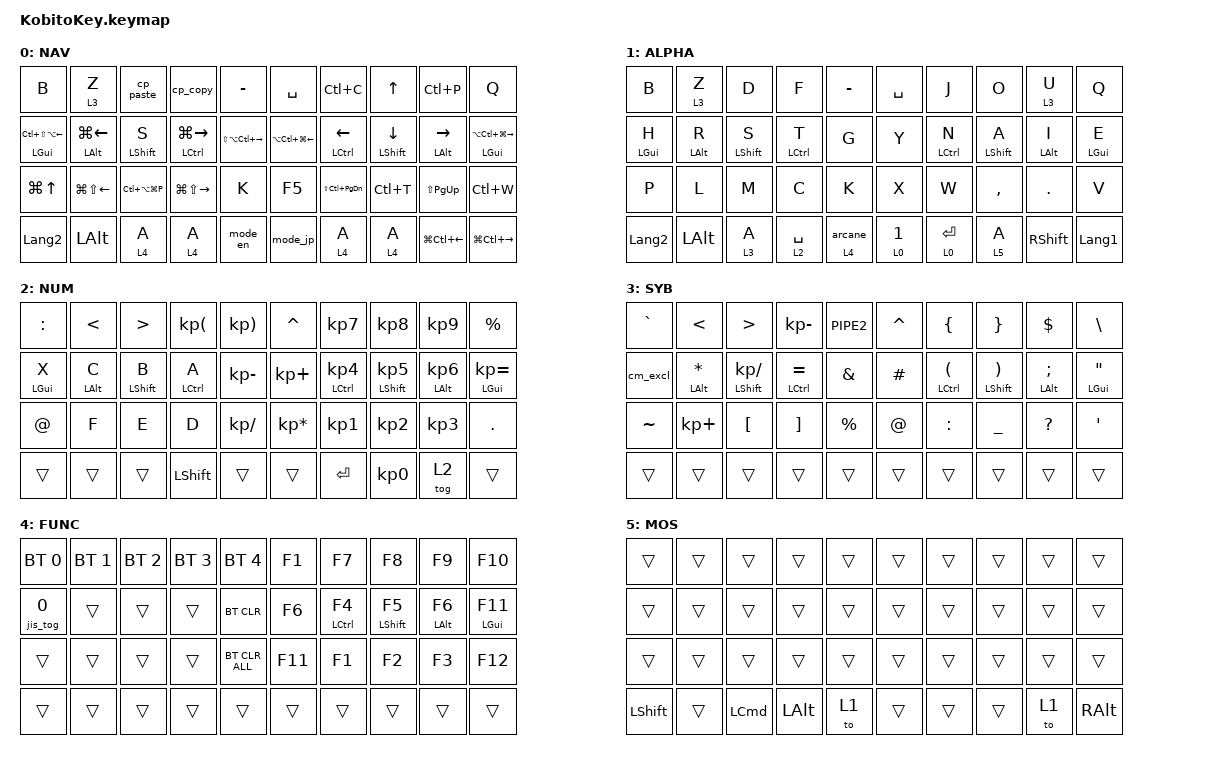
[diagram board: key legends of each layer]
#include <input/processors.dtsi>
#include <behaviors.dtsi>
#include <dt-bindings/zmk/bt.h>
#include <dt-bindings/zmk/keys.h>
#include <dt-bindings/zmk/pointing.h>

#include <zmk-helpers/helper.h> // Requires zmk-helpers module.
#include "boards/shields/KobitoKey/includes/40.h"

#define HM_TAPPING_TERM 280           // urob 流: 280ms (prior-idle ゲートがあるため長くても無害)
#define HM_PRIOR_IDLE 150             // urob 流: 150ms — timeless の肝。直前打鍵から 150ms 以内は即タップ
#define HM_QUICK_TAP 175              // urob 流: 175ms — 連打/リピート時の即時再タップ
#define COMBO_TERM 30          // 同指縦コンボ用: 指間ズレが無いので短く (ロール誤爆抑止)
#define COMBO_TERM_HORIZ 60    // 別指横並び用: 中指先行/相方指の遅れを吸収する緩めtimeout
#define COMBO_TERM_WIDE 75     // index+小指 (J+; 等) 用: 小指の遅れを吸収 (FN 対策)
#define COMBO_IDLE 175         // combo 既定 require-prior-idle-ms: 打鍵流中は combo を無効化

// https://github.com/urob/zmk-config/tree/main#timeless-homerow-mods

#define ZMK_POINTING_DEFAULT_SCRL_VAL 15

/ {
    // Activate ADJUST layer by pressing raise and lower

    behaviors {
        hm_l: homerow_mods_left {
            compatible = "zmk,behavior-hold-tap";
            #binding-cells = <2>;
            bindings = <&kp>, <&kp>;

            flavor = "balanced";
            tapping-term-ms = <HM_TAPPING_TERM>;
            quick-tap-ms = <HM_QUICK_TAP>;
            require-prior-idle-ms = <HM_PRIOR_IDLE>;
            hold-trigger-key-positions = <KEYS_R KEYS_T>;
            hold-trigger-on-release;
        };

        hm_r: homerow_mods_right {
            compatible = "zmk,behavior-hold-tap";
            #binding-cells = <2>;
            bindings = <&kp>, <&kp>;

            flavor = "balanced";
            tapping-term-ms = <HM_TAPPING_TERM>;
            quick-tap-ms = <HM_QUICK_TAP>;
            require-prior-idle-ms = <HM_PRIOR_IDLE>;
            hold-trigger-key-positions = <KEYS_L KEYS_T>;
            hold-trigger-on-release;
        };

        // hm_shift_l / hm_shift_r (Townk 流 prior-idle=0) は 2026-06 に撤去。
        // 速打時の Shift 暴発源だったため、Shift も hm_l/hm_r の一律 timeless 値へ統一。

        /*
         * Non-Positional Homerow Mods
         * Used for &mm_grescm_gui behavior on left hand.
         *
         * Usage: &hm LSHFT T
         * Tap: T
         * Tap-Tap-Hold: Repeat T
         * Hold: LSHIFT
         */

        hm: homerow_mods {
            compatible = "zmk,behavior-hold-tap";
            #binding-cells = <2>;
            bindings = <&kp>, <&kp>;

            flavor = "balanced";
            tapping-term-ms = <HM_TAPPING_TERM>;
            quick-tap-ms = <200>;
        };

        bs_del: bs_del {
            compatible = "zmk,behavior-mod-morph";
            #binding-cells = <0>;
            bindings = <&kp BSPC>, <&kp DEL>;

            mods = <(MOD_LSFT|MOD_RSFT)>;
        };

        lt: layer_tap {
            compatible = "zmk,behavior-hold-tap";
            #binding-cells = <2>;
            bindings = <&mo>, <&kp>;

            flavor = "hold-preferred";
            tapping-term-ms = <HM_TAPPING_TERM>;
            quick-tap-ms = <200>;
        };

        // lt_nav: hold で指定レイヤーをデフォルト化 (&to)、tap でキー送信。
        // 文字レイヤーの親指で「長押し = NAV (layer 0) へ帰還」に使う。
        lt_nav: layer_tap_to {
            compatible = "zmk,behavior-hold-tap";
            #binding-cells = <2>;
            bindings = <&to>, <&kp>;

            flavor = "hold-preferred";
            tapping-term-ms = <HM_TAPPING_TERM>;
            quick-tap-ms = <200>;
        };

        // arcane: repeat/magic ハイブリッド (Keyball の LMAGIC/RMAGIC を移植)。
        // 直前キーが表にあればその文字、なければ直前キーをリピートする。
        // 実装はシールド内のカスタムビヘイビア behavior_arcane.c。
        // パラメータで表を選ぶ: 0 = 左 (LMAGIC)、1 = 右 (RMAGIC)。
        // hold-tap のタップ側に置くため #binding-cells は <1>。
        arcane: arcane {
            compatible = "zmk,behavior-arcane";
            #binding-cells = <1>;
            usage-pages = <0x07>;
        };

        // lt_arc_l: hold = レイヤー (&mo)、tap = arcane。使い方は &lt_arc_l 4 0。
        lt_arc_l: layer_tap_arcane_left {
            compatible = "zmk,behavior-hold-tap";
            #binding-cells = <2>;
            bindings = <&mo>, <&arcane>;

            flavor = "hold-preferred";
            tapping-term-ms = <HM_TAPPING_TERM>;
            quick-tap-ms = <200>;
        };

        // lt_arc_r: hold = &to (NAV 帰還)、tap = arcane。使い方は &lt_arc_r 0 1。
        lt_arc_r: layer_tap_arcane_right {
            compatible = "zmk,behavior-hold-tap";
            #binding-cells = <2>;
            bindings = <&to>, <&arcane>;

            flavor = "hold-preferred";
            tapping-term-ms = <HM_TAPPING_TERM>;
            quick-tap-ms = <200>;
        };

        // jis_tog: JIS/US 出力切替 (Keyball の OUT_TOG + A2J 変換を移植)。
        // パラメータ 0 = トグル、1 = JIS オン、2 = US オン。状態は settings に保存。
        // 切替キーは FUNC レイヤーのホームロー左端に配置。
        jis_tog: jis_toggle {
            compatible = "zmk,behavior-jis-toggle";
            #binding-cells = <1>;
        };

        // cp_paste / cp_copy: コピペマクロ (Toad の Cornix キーマップから移植、Mac→Windows に読み替え)。
        // mod-morph (Shift の有無) の中に hold-tap (tap/hold) を入れ子にして 3〜4 通りを出し分ける。
        // ht_cp: hold/tap とも &kp のコードをそのまま送る汎用 hold-tap。
        ht_cp: ht_cp {
            compatible = "zmk,behavior-hold-tap";
            #binding-cells = <2>;
            bindings = <&kp>, <&kp>;
            flavor = "balanced";
            tapping-term-ms = <280>;
            quick-tap-ms = <175>;
            require-prior-idle-ms = <150>;
        };

        // ht_cp_url: cp_copy の Shift 側。tap は URL コピー マクロ、hold は &kp。
        ht_cp_url: ht_cp_url {
            compatible = "zmk,behavior-hold-tap";
            #binding-cells = <2>;
            bindings = <&kp>, <&url_copy>;
            flavor = "balanced";
            tapping-term-ms = <280>;
            quick-tap-ms = <175>;
            require-prior-idle-ms = <150>;
        };

        // url_copy: Ctrl+L でアドレスバーへ移動してから Ctrl+C (パラメータはダミー)。
        url_copy: url_copy {
            compatible = "zmk,behavior-macro-one-param";
            #binding-cells = <1>;
            wait-ms = <30>;
            tap-ms = <30>;
            bindings = <&kp LC(L)>, <&kp LC(C)>;
        };

        // cp_paste (NAV の D 位置): tap = Ctrl+V、hold = Win+V (クリップボード履歴)、
        // Shift+tap = Ctrl+Shift+V (書式なし貼り付け想定)。
        cp_paste: cp_paste {
            compatible = "zmk,behavior-mod-morph";
            #binding-cells = <0>;
            bindings = <&ht_cp LG(V) LC(V)>, <&kp LC(LS(V))>;
            mods = <(MOD_LSFT|MOD_RSFT)>;
        };

        // cp_copy (NAV の F 位置): tap = Ctrl+C、hold = Win+Shift+S (範囲スクショ→コピー)、
        // Shift+tap = URL コピー、Shift+hold = Win+Shift+T (PowerToys テキスト抽出 = OCR 想定)。
        cp_copy: cp_copy {
            compatible = "zmk,behavior-mod-morph";
            #binding-cells = <0>;
            bindings = <&ht_cp LG(LS(S)) LC(C)>, <&ht_cp_url LG(LS(T)) 0>;
            mods = <(MOD_LSFT|MOD_RSFT)>;
        };

        // task_view: 押している間タスクビュー (Win+Tab) を開き、離すと左クリック
        // (ろほん氏の roBa キーマップより)。押下中は Win+Tab を保持し、トラックボールで
        // ウィンドウにカーソルを合わせ、離した瞬間のクリックで切り替える。
        // ※キーへは未登録。使うときは任意のマスに &task_view を置く。
        task_view: task_view {
            compatible = "zmk,behavior-macro";
            #binding-cells = <0>;
            bindings = <&macro_press &kp LG(TAB)>, <&macro_pause_for_release>, <&macro_release &kp LG(TAB)>, <&macro_tap &mkp LCLK>;
            label = "TASK_VIEW";
        };

        // lt_g: tap-preferred layer-tap (used for G → Navi)
        // 値は main ブランチ準拠 (filterpaper 流の HM 定数を継承せず固定)
        // ユーザの打鍵感覚で main の挙動が最も自然と確認済み (2026-05-29)

        lt_g: layer_tap_g {
            compatible = "zmk,behavior-hold-tap";
            #binding-cells = <2>;
            bindings = <&mo>, <&kp>;

            flavor = "tap-preferred";
            tapping-term-ms = <250>;
            quick-tap-ms = <200>;
            require-prior-idle-ms = <70>;
        };

        // urob zmk-leader-key モジュール (2026-06 導入)
        // 開始キー (combo E+I) → 後続の並びで IDE ジェスチャ等を発火する namespace。
        // このモジュール版は timeout/layers/immediate-trigger を持たない:
        //   有効な並びが揃うまで待機し、無効キーで中断する (せかされない代わりに宙ぶらりんに注意)。
        // 並びはキーコード列 (README の <U S B>=“usb” と同形式)。bindings には任意 behavior/マクロ可。
        leader: leader {
            compatible = "zmk,behavior-leader-key";
            #binding-cells = <0>;

            ldr_cc { sequence = <C C>; bindings = <&ctrl_ctrl>; };    // leader→c c : Ctrl 二連打
            ldr_ss { sequence = <S S>; bindings = <&shift_shift>; };  // leader→s s : Shift 二連打
            // 追加例: ldr_run { sequence = <R>; bindings = <&kp F10 等>; };
            //   Run/Debug は IDE のショートカット (例 IntelliJ: Shift+F10/F9) を教われば足せる。
        };

        // === combo 用 mod-morph (shift / alt 連動) ===
        cm_quote: cm_quote {
            compatible = "zmk,behavior-mod-morph";
            #binding-cells = <0>;
            bindings = <&kp SQT>, <&kp DQT>;
            mods = <(MOD_LSFT|MOD_RSFT)>;
        };
        cm_lpar: cm_lpar {
            compatible = "zmk,behavior-mod-morph";
            #binding-cells = <0>;
            bindings = <&kp LPAR>, <&kp LT>;
            mods = <(MOD_LSFT|MOD_RSFT)>;
        };
        cm_rpar: cm_rpar {
            compatible = "zmk,behavior-mod-morph";
            #binding-cells = <0>;
            bindings = <&kp RPAR>, <&kp GT>;
            mods = <(MOD_LSFT|MOD_RSFT)>;
        };
        cm_lbkt: cm_lbkt {
            compatible = "zmk,behavior-mod-morph";
            #binding-cells = <0>;
            bindings = <&kp LBKT>, <&kp LBRC>;
            mods = <(MOD_LSFT|MOD_RSFT)>;
        };
        cm_rbkt: cm_rbkt {
            compatible = "zmk,behavior-mod-morph";
            #binding-cells = <0>;
            bindings = <&kp RBKT>, <&kp RBRC>;
            mods = <(MOD_LSFT|MOD_RSFT)>;
        };
        cm_excl: cm_excl {
            compatible = "zmk,behavior-mod-morph";
            #binding-cells = <0>;
            bindings = <&kp EXCLAMATION>, <&kp QUESTION>;
            mods = <(MOD_LSFT|MOD_RSFT)>;
        };
        cm_mins: cm_mins {
            compatible = "zmk,behavior-mod-morph";
            #binding-cells = <0>;
            bindings = <&kp KP_MINUS>, <&kp EQUAL>;
            mods = <(MOD_LSFT|MOD_RSFT)>;
        };
        cm_at: cm_at {
            compatible = "zmk,behavior-mod-morph";
            #binding-cells = <0>;
            bindings = <&kp AT>, <&kp HASH>;
            mods = <(MOD_LSFT|MOD_RSFT)>;
        };
        cm_amp: cm_amp {
            compatible = "zmk,behavior-mod-morph";
            #binding-cells = <0>;
            bindings = <&kp AMPERSAND>, <&kp DOLLAR>;
            mods = <(MOD_LSFT|MOD_RSFT)>;
        };
        // df combo: 通常は leader、Alt 保持中は Tab (keep-mods で Alt を残し Alt+Tab に)
        df_lead: df_lead {
            compatible = "zmk,behavior-mod-morph";
            #binding-cells = <0>;
            bindings = <&leader>, <&kp TAB>;
            mods = <(MOD_LALT|MOD_RALT)>;
            keep-mods = <(MOD_LALT|MOD_RALT)>;
        };
    };

    conditional_layers {
        compatible = "zmk,conditional-layers";

        adjust_layer {
            if-layers = <3 2>;
            then-layer = <4>;
        };
    };

    combos {
        compatible = "zmk,combos";

        // 全 combo 共通: timeout-ms=COMBO_TERM(30) でロール誤爆抑止 / require-prior-idle-ms=COMBO_IDLE(175)。
        // 不発が出たら個別に timeout-ms を上げる。とくに「同指縦コンボ」(ws/ed/rf/tg/yh/uj/ik/ol,
        // sx/dc/fv/gb/hn/jm/k,/l.) は構造上ロール誤爆に強いが timeout=30 で不発になりやすい筆頭。

        // --- 編集 / ナビ ---
        cb_kp_esc    { key-positions = <LM3 LM2>;   bindings = <&kp ESC>;   layers = <1>; timeout-ms = <COMBO_TERM>;      require-prior-idle-ms = <COMBO_IDLE>; };  // W+E
        cb_kp_tab    { key-positions = <LM4 LM3>; bindings = <&kp TAB>;   layers = <1>; timeout-ms = <COMBO_TERM>;      require-prior-idle-ms = <COMBO_IDLE>; };  // S+D
        cb_kp_del    { key-positions = <RT3 RT2>;   bindings = <&kp DEL>;   layers = <1>; timeout-ms = <COMBO_TERM_HORIZ>; require-prior-idle-ms = <COMBO_IDLE>; };  // U+I  (横並び: 緩め)
        cb_kp_bs     { key-positions = <RT1 RT2>;  bindings = <&bs_del>;   layers = <1>; timeout-ms = <COMBO_TERM_HORIZ>; require-prior-idle-ms = <COMBO_IDLE>; };  // I+O  (Shift=DEL, 横並び: 緩め)
        //cb_kp_insert { key-positions = <10 20>; bindings = <&kp INS>;   layers = <1>; timeout-ms = <COMBO_TERM_HORIZ>; require-prior-idle-ms = <COMBO_IDLE>; };  // O+J  (横並び: 緩め)
        //cb_kp_enter  { key-positions = <20 23>; bindings = <&kp ENTER>; layers = <1>; timeout-ms = <COMBO_TERM_WIDE>; require-prior-idle-ms = <COMBO_IDLE>; };  // J+; (widechord)
        cb_leader    { key-positions =  <LM4 LM3 LM2>; bindings = <&df_lead>;  layers = <1>; timeout-ms = <COMBO_TERM>;      require-prior-idle-ms = <COMBO_IDLE>; };  // D+F = leader / Alt+Tab
        cb_kp_rght    { key-positions = <RM3 RM2>;   bindings = <&kp RIGHT>;   layers = <1>; timeout-ms = <COMBO_TERM>; require-prior-idle-ms = <COMBO_IDLE>; };  // U+I  (横並び: 緩め)
        cb_kp_left    { key-positions = <RM1 RM2>;  bindings = <&kp LEFT>;   layers = <1>; timeout-ms = <COMBO_TERM>; require-prior-idle-ms = <COMBO_IDLE>; };  // I+O  (Shift=DEL, 横並び: 緩め)
        cb_kp_down    { key-positions = <RM3 RT2>;   bindings = <&kp DOWN>;   layers = <1>; timeout-ms = <COMBO_TERM>; require-prior-idle-ms = <COMBO_IDLE>; };  // U+I  (横並び: 緩め)
        cb_kp_up      { key-positions = <RM1 RT2>;  bindings = <&kp UP>;   layers = <1>; timeout-ms = <COMBO_TERM>; require-prior-idle-ms = <COMBO_IDLE>; };  // I+O  (Shift=DEL, 横並び: 緩め)
        cb_kp_pgdn    { key-positions = <RB3 RM2>;  bindings = <&kp PG_DN>;   layers = <1>; timeout-ms = <COMBO_TERM>; require-prior-idle-ms = <COMBO_IDLE>; };  // U+I  (横並び: 緩め)
        cb_kp_pgup    { key-positions = <RB1 RM2>;  bindings = <&kp PG_UP>;   layers = <1>; timeout-ms = <COMBO_TERM>; require-prior-idle-ms = <COMBO_IDLE>; };  // I+O  (Shift=DEL, 横並び: 緩め)
        cb_kp_f2      { key-positions = <RT1 RM1>;  bindings = <&kp F2>;   layers = <1>; timeout-ms = <COMBO_TERM_HORIZ>; require-prior-idle-ms = <COMBO_IDLE>; };  // I+O  (Shift=DEL, 横並び: 緩め)
        cb_kp_f5      { key-positions = <RT2 RM2>;  bindings = <&kp F5>;   layers = <1>; timeout-ms = <COMBO_TERM_HORIZ>; require-prior-idle-ms = <COMBO_IDLE>; };  // I+O  (Shift=DEL, 横並び: 緩め)
        cb_kp_f11     { key-positions = <RT3 RM3>;  bindings = <&kp F11>;   layers = <1>; timeout-ms = <COMBO_TERM_HORIZ>; require-prior-idle-ms = <COMBO_IDLE>; };  // I+O  (Shift=DEL, 横並び: 緩め)
        cb_kp_f10     { key-positions = <RT2 RT3 RM1>;  bindings = <&kp F10>;   layers = <1>; timeout-ms = <COMBO_TERM>; require-prior-idle-ms = <COMBO_IDLE>; };  // I+O  (Shift=DEL, 横並び: 緩め)
        cb_kp_f7      { key-positions = <RB1 RM2 RM3>;  bindings = <&kp F7>;   layers = <1>; timeout-ms = <COMBO_TERM>; require-prior-idle-ms = <COMBO_IDLE>; };  // I+O  (Shift=DEL, 横並び: 緩め)
        cb_kp_copy    { key-positions = <RM3 RM2 RM1>;   bindings = <&kp LC(C)>;   layers = <1>; timeout-ms = <COMBO_TERM>; require-prior-idle-ms = <COMBO_IDLE>; };  // U+I  (横並び: 緩め)
        cb_kp_past    { key-positions = <RM3 RM2 RM4 RM1>;   bindings = <&kp LC(P)>;   layers = <1>; timeout-ms = <COMBO_TERM>; require-prior-idle-ms = <COMBO_IDLE>; };  // U+I  (横並び: 緩め)

        // --- mouse / (&mkp) ---
        cb_mb1       { key-positions =  <RT0 RT1>; bindings = <&mkp MB1>;  layers = <1>; timeout-ms = <COMBO_TERM>;      require-prior-idle-ms = <COMBO_IDLE>; };  // D+F = leader / Alt+Tab
        cb_mb2       { key-positions =  <RT0 RT1 RT2>; bindings = <&mkp MB2>;  layers = <1>; timeout-ms = <COMBO_TERM_WIDE>;      require-prior-idle-ms = <COMBO_IDLE>; };  // D+F = leader / Alt+Tab
        cb_mb3       { key-positions =  <RT0 RM0>; bindings = <&mkp MB3>;  layers = <1>; timeout-ms = <COMBO_TERM_HORIZ>;      require-prior-idle-ms = <COMBO_IDLE>; };  // D+F = leader / Alt+Tab
        cb_mb4       { key-positions =  <RM0 RM1 RM2>; bindings = <&mkp MB4>;  layers = <1>; timeout-ms = <COMBO_TERM_WIDE>;      require-prior-idle-ms = <COMBO_IDLE>; };  // D+F = leader / Alt+Tab
        cb_mb5       { key-positions =  <RB0 RB1 RB2>; bindings = <&mkp MB5>;  layers = <1>; timeout-ms = <COMBO_TERM_WIDE>;      require-prior-idle-ms = <COMBO_IDLE>; };  // D+F = leader / Alt+Tab
        cb_app       { key-positions =  <RB3 RB1 RB2>; bindings = <&kp K_APP>;  layers = <1>; timeout-ms = <COMBO_TERM_WIDE>;      require-prior-idle-ms = <COMBO_IDLE>; };  // D+F = leader / Alt+Tab

        // --- 記号 (単純 &kp) ---
        // cb_hash      { key-positions = <RB1 RM1>; bindings = <&kp HASH>;      layers = <1>; timeout-ms = <COMBO_TERM_HORIZ>; require-prior-idle-ms = <COMBO_IDLE>; };  // E+D
        // cb_dollar    { key-positions = <RT4 RT5>;  bindings = <&kp DOLLAR>;    layers = <1>; timeout-ms = <COMBO_TERM>; require-prior-idle-ms = <COMBO_IDLE>; };  // R+F
        cb_percent   { key-positions = <4 16>;  bindings = <&kp PERCENT>;   layers = <1>; timeout-ms = <COMBO_TERM>; require-prior-idle-ms = <COMBO_IDLE>; };  // T+G
        cb_caret     { key-positions = <RT1 RT3>;  bindings = <&kp CARET>;     layers = <1>; timeout-ms = <COMBO_TERM>; require-prior-idle-ms = <COMBO_IDLE>; };  // Y+H
        cb_plus      { key-positions = <RM3 RM1 RT2>;  bindings = <&kp PLUS>;      layers = <1>; timeout-ms = <COMBO_TERM>; require-prior-idle-ms = <COMBO_IDLE>; };  // U+J
        cb_asterisk  { key-positions = <RM4 RM2 RT3>;  bindings = <&kp ASTERISK>;  layers = <1>; timeout-ms = <COMBO_TERM>; require-prior-idle-ms = <COMBO_IDLE>; };  // I+K
        // cb_grave     { key-positions = <13 25>; bindings = <&kp GRAVE>;     layers = <1>; timeout-ms = <COMBO_TERM>; require-prior-idle-ms = <COMBO_IDLE>; };  // S+X
        cb_bslh      { key-positions = <RT3 RM4>; bindings = <&kp BSLH>;      layers = <1>; timeout-ms = <COMBO_TERM>; require-prior-idle-ms = <COMBO_IDLE>; };  // D+C
        // cb_equal     { key-positions = <15 27>; bindings = <&kp EQUAL>;     layers = <1>; timeout-ms = <COMBO_TERM>; require-prior-idle-ms = <COMBO_IDLE>; };  // F+V
        // cb_tilde     { key-positions = <16 28>; bindings = <&kp TILDE>;     layers = <1>; timeout-ms = <COMBO_TERM>; require-prior-idle-ms = <COMBO_IDLE>; };  // G+B (旧 Space を置換)
        cb_under     { key-positions = <RB3 RB1>; bindings = <&kp UNDER>;     layers = <1>; timeout-ms = <COMBO_TERM>; require-prior-idle-ms = <COMBO_IDLE>; };  // H+N
        cb_fslh      { key-positions = <RM4 RM2>; bindings = <&kp FSLH>;      layers = <1>; timeout-ms = <COMBO_TERM>; require-prior-idle-ms = <COMBO_IDLE>; };  // K+,
        cb_pipe      { key-positions = <RB3 RM3>; bindings = <&kp PIPE>;      layers = <1>; timeout-ms = <COMBO_TERM_HORIZ>; require-prior-idle-ms = <COMBO_IDLE>; };  // L+.
        cb_coln      { key-positions = <RB2 RB3>; bindings = <&kp SEMI>;      layers = <1>; timeout-ms = <COMBO_TERM>; require-prior-idle-ms = <COMBO_IDLE>; };  // K+,
        cb_scln      { key-positions = <RB1 RB2>; bindings = <&kp COLON>;      layers = <1>; timeout-ms = <COMBO_TERM>; require-prior-idle-ms = <COMBO_IDLE>; };  // L+.
        cb_at        { key-positions = <RB0 RM0>; bindings = <&cm_at>;        layers = <1>; timeout-ms = <COMBO_TERM_HORIZ>; require-prior-idle-ms = <COMBO_IDLE>; };  // W+S
        cb_amp       { key-positions = <RB1 RM1>; bindings = <&cm_amp>;      layers = <1>; timeout-ms = <COMBO_TERM>; require-prior-idle-ms = <COMBO_IDLE>; };  // O+L
        cb_minus     { key-positions = <RM3 RM1>; bindings = <&cm_mins>;     layers = <1>; timeout-ms = <COMBO_TERM>; require-prior-idle-ms = <COMBO_IDLE>; };  // J+M

        // --- 括弧 / 引用符 (shift 連動 mod-morph) ---
        //cb_quote     { key-positions = <20 22>; bindings = <&cm_quote>; layers = <1>; timeout-ms = <COMBO_TERM_HORIZ>; require-prior-idle-ms = <COMBO_IDLE>; };  // J+L: ' / "  (横並び: 緩め)
        //cb_lpar      { key-positions = <20 21>; bindings = <&cm_lpar>;  layers = <1>; timeout-ms = <COMBO_TERM_HORIZ>; require-prior-idle-ms = <COMBO_IDLE>; };  // J+K: ( / <  (横並び: 緩め)
        //cb_rpar      { key-positions = <21 22>; bindings = <&cm_rpar>;  layers = <1>; timeout-ms = <COMBO_TERM_HORIZ>; require-prior-idle-ms = <COMBO_IDLE>; };  // K+L: ) / >  (横並び: 緩め)
        //cb_lbkt      { key-positions = <34 35>; bindings = <&cm_lbkt>;  layers = <1>; timeout-ms = <COMBO_TERM_HORIZ>; require-prior-idle-ms = <COMBO_IDLE>; };  // M+,: [ / {  (横並び: 緩め)
        //cb_rbkt      { key-positions = <35 36>; bindings = <&cm_rbkt>;  layers = <1>; timeout-ms = <COMBO_TERM_HORIZ>; require-prior-idle-ms = <COMBO_IDLE>; };  // ,+.: ] / }  (横並び: 緩め)

        // --- Ins/Del 派生 ---
        //cb_ctrl_ins  { key-positions = <25 26>; bindings = <&kp LC(INS)>; layers = <1>; timeout-ms = <COMBO_TERM>; require-prior-idle-ms = <COMBO_IDLE>; };  // X+C
        //cb_shift_ins { key-positions = <26 27>; bindings = <&kp LS(INS)>; layers = <1>; timeout-ms = <COMBO_TERM>; require-prior-idle-ms = <COMBO_IDLE>; };  // C+V
        //cb_shift_del { key-positions = <25 27>; bindings = <&kp LS(DEL)>; layers = <1>; timeout-ms = <COMBO_TERM>; require-prior-idle-ms = <COMBO_IDLE>; };  // X+V
    };

    macros {
        // my_macro_zenhan (Alt+`) を撤去 (2026-06: zenhan combo 撤去で参照ゼロの dead code 化)。
        //   全/半 切替を再度キーに割り当てたくなったら、この Alt+` tap マクロを復活させる。

        // IDE ジェスチャ: 同一修飾の二連打 (host に double-tap として検出させる)
        // wait/tap を短めにして二打を「連続」と認識させる。IDE が拾わなければ値を調整。
        ctrl_ctrl: ctrl_ctrl {
            compatible = "zmk,behavior-macro";
            #binding-cells = <0>;
            wait-ms = <40>;
            tap-ms = <40>;
            bindings = <&kp LCTRL>, <&kp LCTRL>;
            label = "CTRL_CTRL";
        };

        shift_shift: shift_shift {
            compatible = "zmk,behavior-macro";
            #binding-cells = <0>;
            wait-ms = <40>;
            tap-ms = <40>;
            bindings = <&kp LSHFT>, <&kp LSHFT>;
            label = "SHIFT_SHIFT";
        };

        // モード入口 (NAV の rc3,4 / rc3,5): IME キーを送ってから文字レイヤー (1) をデフォルト化
        mode_en: mode_en {
            compatible = "zmk,behavior-macro";
            #binding-cells = <0>;
            wait-ms = <40>;
            tap-ms = <40>;
            bindings = <&kp LANGUAGE_2>, <&to 1>;
            label = "MODE_EN";
        };

        mode_jp: mode_jp {
            compatible = "zmk,behavior-macro";
            #binding-cells = <0>;
            wait-ms = <40>;
            tap-ms = <40>;
            bindings = <&kp LANGUAGE_1>, <&to 1>;
            label = "MODE_JP";
        };
    };

    keymap {
        compatible = "zmk,keymap";

        NAV {
            label = "NAV";
            bindings = <
&kp B           &lt_g 3 Z       &cp_paste         &cp_copy      &kp MINUS  &kp SPACE  &kp LC(C)              &kp UP_ARROW    &kp LC(P)               &kp Q
&hm_l LGUI LC(LS(LA(LEFT_ARROW)))  &hm_l LALT LG(LEFT_ARROW)      &hm_l LSHFT S             &hm_l LCTRL LG(RIGHT_ARROW)      &kp LS(LA(LC(RIGHT_ARROW)))  &kp LA(LC(LG(LEFT_ARROW)))  &hm_r LCTRL LEFT_ARROW         &hm_r LSHFT DOWN_ARROW  &hm_r LALT RIGHT_ARROW         &hm_r LGUI LA(LC(LG(RIGHT_ARROW)))
&kp LG(UP_ARROW)            &kp LG(LS(LEFT_ARROW))  &kp LC(LA(LG(P)))  &kp LG(LS(RIGHT_ARROW))  &kp K                       &kp F5                      &kp LS(LC(PAGE_DOWN))  &kp LC(T)       &kp LS(PAGE_UP)         &kp LC(W)
&kp LANGUAGE_2  &kp LALT        &lt 4 A           &lt 4 A   &mode_en    &mode_jp    &lt 4 A     &lt 4 A            &kp LG(LC(LEFT_ARROW))  &kp LG(LC(RIGHT_ARROW))
            >;
        };

        default_layer {
            label = "ALPHA";
        bindings = <
&kp B           &lt_g 3 Z       &kp D             &kp F         &kp MINUS  &kp SPACE  &kp J           &kp O              &lt_g 3 U        &kp Q
&hm_l  LGUI H   &hm_l LALT R    &hm_l LSHFT S     &hm_l LCTRL T &kp G      &kp Y      &hm_r  LCTRL N  &hm_r  LSHFT A     &hm_r  LALT I    &hm_r  LGUI E
&kp P           &kp L           &kp M             &kp C         &kp K      &kp X      &kp W           &kp COMMA          &kp DOT          &kp V
&kp LANGUAGE_2  &kp LALT        &lt 3 A           &lt 2 SPACE   &lt_arc_l 4 0    &lt_arc_r 0 1    &lt_nav 0 ENTER     &lt 5 A            &kp RSHFT        &kp LANGUAGE_1
            >; 
        };

        NUM {
            label = "NUM";
            bindings = <
&kp COLON       &kp LESS_THAN   &kp GREATER_THAN  &kp KP_LPAR  &kp KP_RPAR    &kp CARET        &kp KP_NUMBER_7  &kp KP_NUMBER_8  &kp KP_NUMBER_9  &kp PERCENT
&hm_l LGUI X    &hm_l LALT C    &hm_l LSHFT B     &hm_l LCTRL A  &kp KP_MINUS   &kp KP_PLUS      &hm_r LCTRL KP_NUMBER_4  &hm_r LSHFT KP_NUMBER_5  &hm_r LALT KP_NUMBER_6  &hm_r LGUI KP_EQUAL
&kp AT_SIGN     &kp F           &kp E             &kp D        &kp KP_DIVIDE  &kp KP_ASTERISK  &kp KP_NUMBER_1  &kp KP_NUMBER_2  &kp KP_NUMBER_3  &kp DOT
&trans          &trans          &trans            &kp LSHFT    &trans         &trans           &kp ENTER        &kp KP_NUMBER_0  &tog 2           &trans
            >;
        };

        SYB {
            label = "SYB";
            bindings = <
&kp GRAVE        &kp LESS_THAN  &kp GREATER_THAN  &kp KP_MINUS       &kp PIPE2      &kp CARET    &kp LEFT_BRACE  &kp RIGHT_BRACE  &kp DOLLAR     &kp BACKSLASH
&cm_excl         &hm_l LALT ASTERISK   &hm_l LSHFT KP_SLASH      &hm_l LCTRL EQUAL          &kp AMPERSAND  &kp HASH     &hm_r LCTRL LPAR        &hm_r LSHFT RPAR         &hm_r LALT SEMICOLON  &hm_r LGUI DOUBLE_QUOTES
&kp TILDE        &kp KP_PLUS    &kp LEFT_BRACKET  &kp RIGHT_BRACKET  &kp PERCENT    &kp AT_SIGN  &kp COLON       &kp UNDERSCORE   &kp QUESTION   &kp SINGLE_QUOTE
&trans           &trans         &trans            &trans             &trans         &trans       &trans          &trans           &trans         &trans
            >;
        };

        FUNC {
            label = "FUNC";
            bindings = <
&bt BT_SEL 0  &bt BT_SEL 1  &bt BT_SEL 2  &bt BT_SEL 3  &bt BT_SEL 4    &kp F1   &kp F7  &kp F8  &kp F9  &kp F10
&jis_tog 0    &trans        &trans        &trans        &bt BT_CLR      &kp F6   &hm_r LCTRL F4  &hm_r LSHFT F5  &hm_r LALT F6  &hm_r LGUI F11
&trans        &trans        &trans        &trans        &bt BT_CLR_ALL  &kp F11  &kp F1  &kp F2  &kp F3  &kp F12
&trans        &trans        &trans        &trans        &trans          &trans   &trans  &trans  &trans  &trans
            >;
        };

        MOS {
            label = "MOS";
            bindings = <
&trans     &trans  &trans    &trans    &trans  &trans  &trans    &trans    &trans    &trans
&trans     &trans  &trans    &trans    &trans  &trans  &trans    &trans    &trans    &trans
&trans     &trans  &trans    &trans    &trans  &trans  &trans    &trans    &trans    &trans
&kp LSHFT  &trans  &kp LCMD  &kp LALT  &to 1   &trans  &trans    &trans    &to 1     &kp RALT
            >;
        };

    };
};
